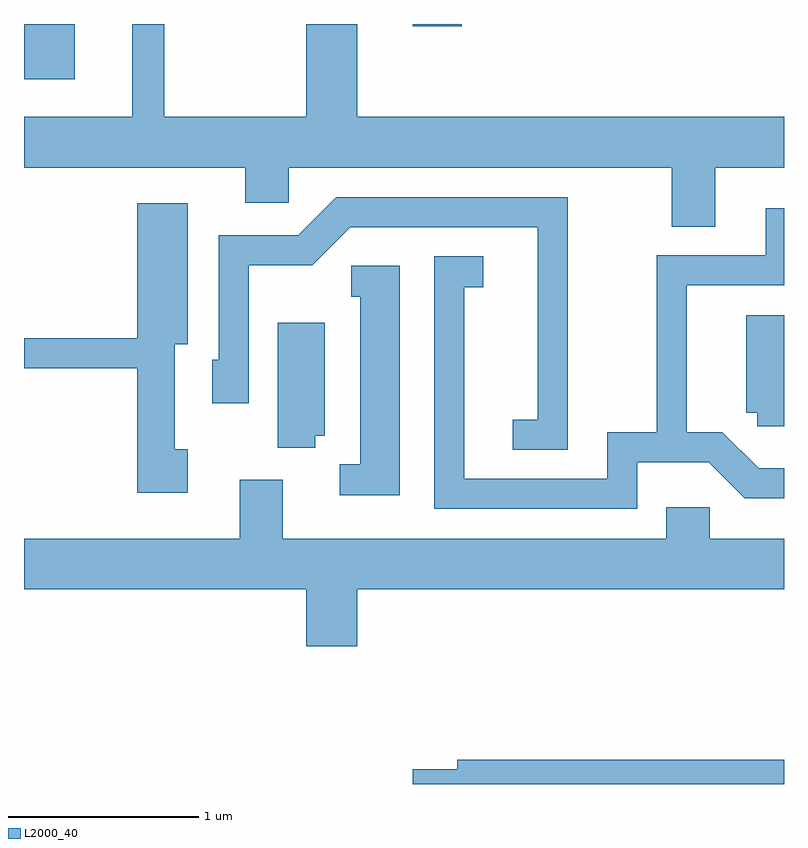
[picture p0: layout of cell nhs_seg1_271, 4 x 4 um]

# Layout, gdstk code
import gdstk
lib = gdstk.Library(unit=1e-6, precision=1e-09)
def R(c, l, rs):  # rectangles x0, y0, x1, y1
    for r in rs: c.add(gdstk.rectangle(r[:2], r[2:], *l))
def P(c, l, *ps):  # polygons
    for p in ps: c.add(gdstk.Polygon(p, *l))
L2000_40 = (2000, 40)

nhs_seg1_271 = lib.new_cell('nhs_seg1_271')
R(nhs_seg1_271, L2000_40, [(193.611,853.421,193.879,853.712), (195.656,853.701,195.914,853.712)])
P(nhs_seg1_271, L2000_40, [(197.249,852.956),(197.611,852.956),(197.611,853.224),(195.364,853.224),(195.364,853.712),(195.096,853.712),(195.096,853.224),(194.349,853.224),(194.349,853.712),(194.181,853.712),(194.181,853.224),(193.611,853.224),(193.611,852.956),(194.776,852.956),(194.776,852.771),(195.004,852.771),(195.004,852.956),(197.021,852.956),(197.021,852.646),(197.249,852.646)],
  [(196.474,852.799),(195.254,852.799),(195.054,852.599),(194.636,852.599),(194.636,851.944),(194.601,851.944),(194.601,851.716),(194.794,851.716),(194.794,852.441),(195.127,852.441),(195.327,852.641),(196.316,852.641),(196.316,851.629),(196.183,851.629),(196.183,851.471),(196.474,851.471)],
  [(194.474,851.474),(194.404,851.474),(194.404,852.026),(194.474,852.026),(194.474,852.769),(194.206,852.769),(194.206,852.059),(193.611,852.059),(193.611,851.901),(194.206,851.901),(194.206,851.246),(194.474,851.246)],
  [(196.839,851.406),(197.214,851.406),(197.404,851.216),(197.611,851.216),(197.611,851.374),(197.477,851.374),(197.287,851.564),(197.099,851.564),(197.099,852.336),(197.611,852.336),(197.611,852.743),(197.516,852.743),(197.516,852.494),(196.941,852.494),(196.941,851.564),(196.681,851.564),(196.681,851.319),(195.929,851.319),(195.929,852.326),(196.028,852.326),(196.028,852.489),(195.771,852.489),(195.771,851.161),(196.839,851.161)],
  [(195.589,852.439),(195.333,852.439),(195.333,852.276),(195.381,852.276),(195.381,851.394),(195.273,851.394),(195.273,851.231),(195.589,851.231)],
  [(197.611,852.179),(197.411,852.179),(197.411,851.666),(197.471,851.666),(197.471,851.596),(197.611,851.596)],
  [(195.144,851.546),(195.194,851.546),(195.194,852.139),(194.946,852.139),(194.946,851.481),(195.144,851.481)],
  [(195.364,850.736),(197.611,850.736),(197.611,851.004),(197.219,851.004),(197.219,851.169),(196.991,851.169),(196.991,851.004),(194.974,851.004),(194.974,851.314),(194.746,851.314),(194.746,851.004),(193.611,851.004),(193.611,850.736),(195.096,850.736),(195.096,850.436),(195.364,850.436)],
  [(197.611,849.839),(195.891,849.839),(195.891,849.789),(195.656,849.789),(195.656,849.712),(197.611,849.712)])

lib.write_gds('nhs_seg1_271.gds')
